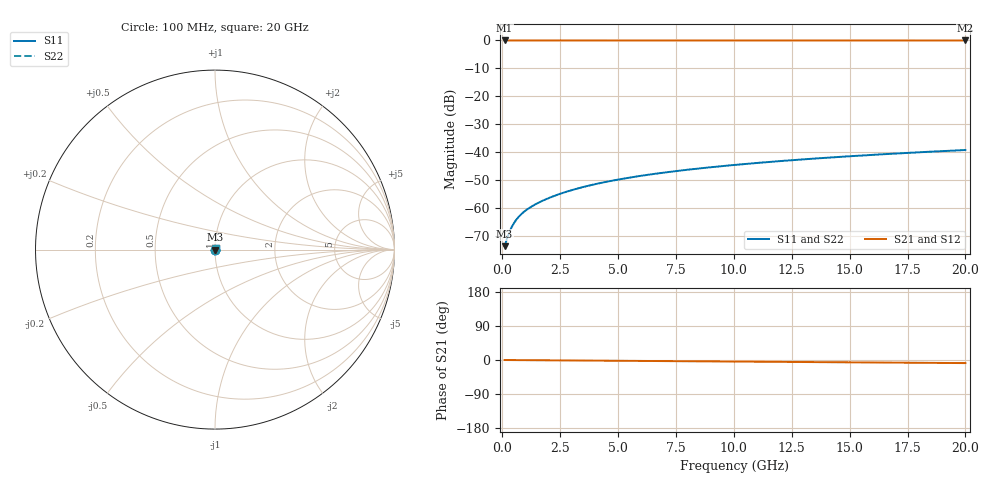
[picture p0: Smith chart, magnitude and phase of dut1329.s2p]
! Touchstone file exported from HFSS 2026.1.0
!  File:  C:/ffzhzh/LocalFiles/Ansys_Project_Files/temp_train_TSV_1329_1783195343_18472.aedt
!  Generated:  04:03:55 AM Jul  5, 2026
!  Design:  TSV
!  Project:  temp_train_TSV_1329_1783195343_18472
! Variables:
!  h_bsmrdl = 2um
!  h_ox = 20um
!  h_rdl = 5um
!  h_sub = 83.52um
!  h_tmrdl = 5um
!  h_tsv = 83.52um
!  h_via = 3um
!  l_bsmrdl = 300um
!  l_sub = 416.56um
!  l_tmrdl = 200um
!  m_sub = 200um
!  pitch = 36.76um
!  r_tsv = 8.28um
!  s_tmrdl = 10um
!  w_bsmrdl = 18um
!  w_sub = 500um
!  w_tmrdl = 12um
!  x_tsv_center1 = 206um
!  x_tsv_center2 = 524um
!  x_tsv_center3 = 736um
!  x_tsv_center4 = 1054um
!  x_tsv_center5 = 1266um
!  x_tsv_center6 = 1584um
# GHz S MA R 50.000000
! Terminal data exported
! Port[1] = TSV1_1_T1
! Port[2] = TSV1_1_T2
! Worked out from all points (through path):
!   200 points, 100 MHz to 20 GHz, reference 50 ohm
!   highest |S21| = 0.00 dB at 100 MHz (marker M1); lowest = 0.0 dB at 20 GHz (marker M2)
!   group delay of S21, straight-line fit = 1.13 ps
!   lowest |S11| = -73.8 dB at 100 MHz (marker M3), VSWR 1.00, Z = 50 + j0.0101 ohm
!   |S11| at or under -10 dB: start of sweep to end of sweep
!   |S22| runs from -73.8 to -39.3 dB; largest |S21 - S12| = 3.7e-15
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0.1  0.0002049 29.5  0.9998 -0.0  0.9998 -0.0  0.0002049 29.5
! Gamma 0 0 0 0
! Port Impedance 50 0 50 0
0.2  0.0002759 46.2  0.9998 -0.1  0.9998 -0.1  0.0002759 46.2
0.3  0.0003602 54.4  0.9998 -0.1  0.9998 -0.1  0.0003602 54.4
0.4  0.000446 58.5  0.9998 -0.2  0.9998 -0.2  0.000446 58.5
0.5  0.000529 60.7  0.9997 -0.2  0.9997 -0.2  0.000529 60.7
0.6  0.000608 62.1  0.9997 -0.3  0.9997 -0.3  0.000608 62.1
0.7  0.0006827 63.0  0.9997 -0.3  0.9997 -0.3  0.0006827 63.0
0.8  0.0007538 63.7  0.9997 -0.3  0.9997 -0.3  0.0007538 63.7
1  0.0008872 64.8  0.9996 -0.4  0.9996 -0.4  0.0008872 64.8
1.4  0.001134 66.9  0.9996 -0.6  0.9996 -0.6  0.001134 66.9
1.7  0.001313 68.2  0.9995 -0.7  0.9995 -0.7  0.001313 68.2
2  0.001489 69.4  0.9995 -0.8  0.9995 -0.8  0.001489 69.4
2.7  0.001898 71.3  0.9994 -1.1  0.9994 -1.1  0.001898 71.3
3.5  0.00236 72.7  0.9994 -1.5  0.9994 -1.5  0.00236 72.7
4.2  0.002757 73.4  0.9993 -1.7  0.9993 -1.7  0.002757 73.4
5  0.003202 74.0  0.9992 -2.1  0.9992 -2.1  0.003202 74.0
6.8  0.004175 74.6  0.9991 -2.8  0.9991 -2.8  0.004175 74.6
8.3  0.004965 74.9  0.999 -3.4  0.999 -3.4  0.004965 74.9
10.1  0.005898 75.0  0.9989 -4.1  0.9989 -4.1  0.005898 75.0
13.4  0.007583 74.9  0.9987 -5.5  0.9987 -5.5  0.007583 74.9
16.7  0.009239 74.3  0.9985 -6.8  0.9985 -6.8  0.009239 74.3
20  0.01086 73.6  0.9984 -8.2  0.9984 -8.2  0.01086 73.6
